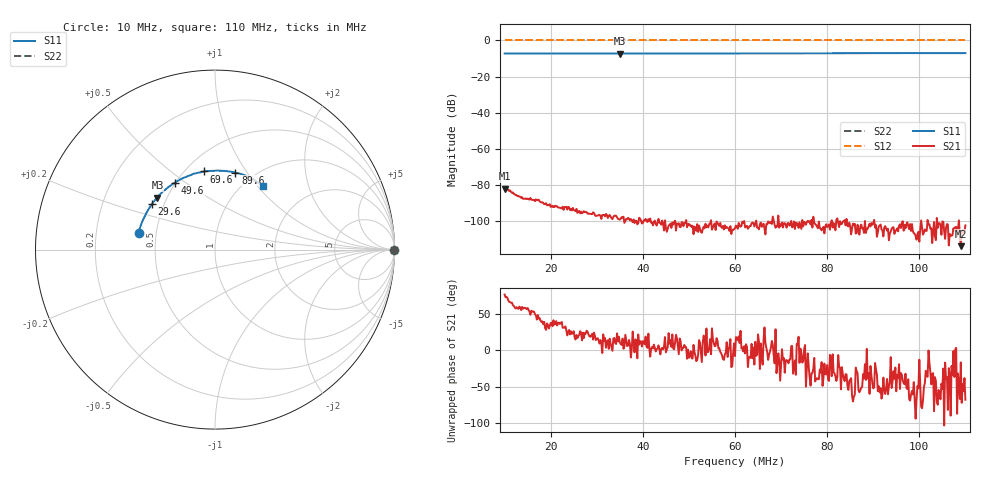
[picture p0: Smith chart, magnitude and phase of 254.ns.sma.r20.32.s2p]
! Anritsu VNA Master:  Model: MS2036C/10/77
! SN:  1601066
! /card0/usr/254.ns.sma.r20.32.s2p
! Existing Calibration Information:
! TYPE:  Current Settings,  Active Cal Settings
! TIME:  12/20/2017 02:12:32 PM,  12/20/2017 02:00:00 PM
! INTERNAL TEMP:  47.5 C,  47.0 C
! # POINTS:  501,  501
! START FREQ:  10.000 MHz,  10.000 MHz
! STOP FREQ:  110.000 MHz,  110.000 MHz
! SOURCE POWER:  High,  High
! IFBW:  100 Hz,  100 Hz
! AVG FACTOR:  1 ,  1
! REF PLANE 1:  0 mm,  0 mm
! REF PLANE 2:  0 mm,  0 mm
! CAL TYPE:  Full S11,  Full S11
! CAL METHOD:  SOLT,  SOLT
! CAL LINE TYPE:  Coax,  Coax
! DUT PORT 1:  N-Conn(F),  N-Conn(F)
! DUT PORT 2:  K-Conn(F),  K-Conn(F)
! CAL STATUS:  OK: Accuracy High,  --
# GHZ S DB R 50.0
! FREQ.GHZ  S11DB  S11A  S21DB  S21A  S12DB  S12A  S22DB  S22A
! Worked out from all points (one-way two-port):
!   501 points, 10 MHz to 110 MHz, reference 50 ohm
!   highest |S21| = -82.28 dB at 10 MHz (marker M1); lowest = -114.1 dB at 109 MHz (marker M2)
!   lowest |S11| = -7.3 dB at 35 MHz (marker M3), VSWR 2.52, Z = 22.2 + j15.9 ohm
!   |S11| at or under -10 dB: nowhere
!   |S22| runs from 0.0 to 0.0 dB; largest |S21 - S12| = 1
!   S11 on the Smith chart (normalised r, x): 10 MHz: 0.40, +0.09; 29.6 MHz: 0.43, +0.27; 49.6 MHz: 0.50, +0.46; 69.6 MHz: 0.61, +0.66; 89.6 MHz: 0.83, +0.88; 110 MHz: 1.22, +1.08
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0.01  -7.21 167.7  -82.28 77.6  0.00 0.0  0.00 0.0
0.0176  -7.25 158.6  -89.31 44.9  0.00 0.0  0.00 0.0
0.0268  -7.28 147.6  -95.88 14.1  0.00 0.0  0.00 0.0
0.0296  -7.25 144.4  -96.94 20.3  0.00 0.0  0.00 0.0
0.035  -7.28 137.9  -99.44 11.1  0.00 0.0  0.00 0.0
0.0368  -7.23 135.7  -98.44 6.8  0.00 0.0  0.00 0.0
0.041  -7.22 131.1  -100.74 3.6  0.00 0.0  0.00 0.0
0.0434  -7.25 128.1  -99.03 7.1  0.00 0.0  0.00 0.0
0.0474  -7.22 123.3  -101.53 16.8  0.00 0.0  0.00 0.0
0.0496  -7.23 120.9  -103.65 -11.4  0.00 0.0  0.00 0.0
0.0548  -7.20 114.8  -99.75 -5.2  0.00 0.0  0.00 0.0
0.06  -7.20 108.9  -104.18 -7.7  0.00 0.0  0.00 0.0
0.0628  -7.16 105.7  -104.49 -23.0  0.00 0.0  0.00 0.0
0.0696  -7.14 97.9  -103.87 -14.0  0.00 0.0  0.00 0.0
0.0736  -7.15 93.6  -101.49 8.4  0.00 0.0  0.00 0.0
0.0768  -7.14 89.7  -103.80 -31.0  0.00 0.0  0.00 0.0
0.0848  -7.07 80.5  -101.10 -42.7  0.00 0.0  0.00 0.0
0.0896  -7.06 75.2  -101.32 -34.3  0.00 0.0  0.00 0.0
0.0934  -7.02 71.0  -110.84 -49.9  0.00 0.0  0.00 0.0
0.1016  -7.01 62.4  -105.68 -35.6  0.00 0.0  0.00 0.0
0.109  -7.03 53.8  -114.15 -16.5  0.00 0.0  0.00 0.0
0.11  -7.02 52.7  -102.61 -68.4  0.00 0.0  0.00 0.0
